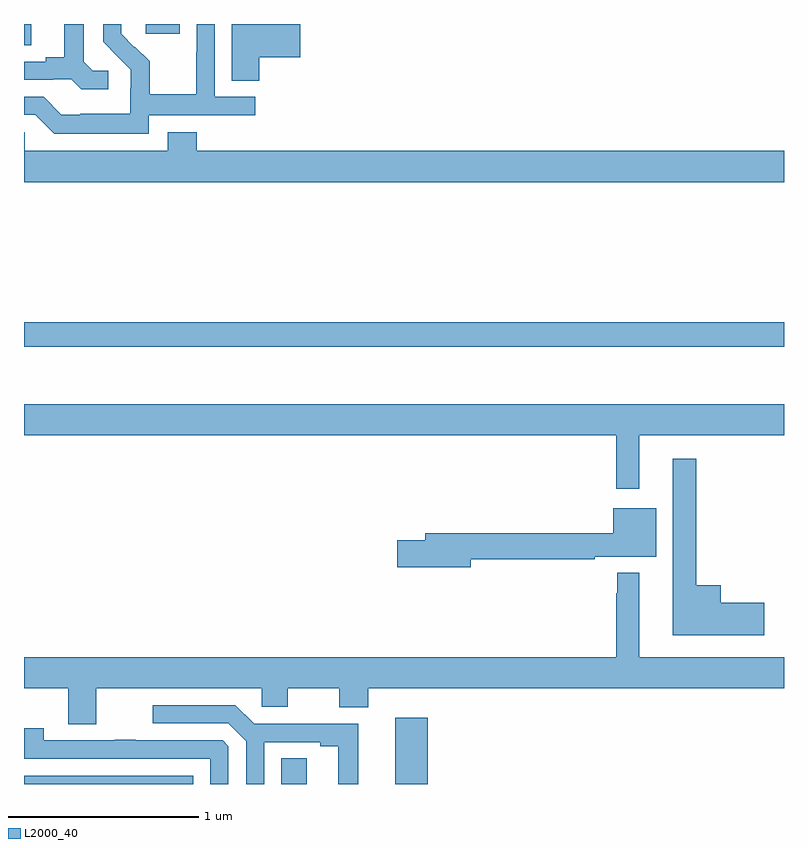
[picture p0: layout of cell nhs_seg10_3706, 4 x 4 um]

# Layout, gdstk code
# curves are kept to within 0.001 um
import gdstk
lib = gdstk.Library(unit=1e-6, precision=1e-09)
def R(c, l, rs):  # rectangles x0, y0, x1, y1
    for r in rs: c.add(gdstk.rectangle(r[:2], r[2:], *l))
def P(c, l, *ps):  # polygons
    for p in ps: c.add(gdstk.Polygon(p, *l))
L2000_40 = (2000, 40)

nhs_seg10_3706 = lib.new_cell('nhs_seg10_3706')
R(nhs_seg10_3706, L2000_40, [(313,1278.5,313.89,1278.543), (314.354,1278.5,314.488,1278.635), (314.954,1278.5,315.125,1278.85), (313,1280.802,317,1280.93), (313,1282.387,313.039,1282.5), (313.64,1282.449,313.819,1282.5)])
P(nhs_seg10_3706, L2000_40, [(313.444,1282.254),(313.362,1282.254),(313.315,1282.301),(313.315,1282.5),(313.211,1282.5),(313.211,1282.325),(313.115,1282.325),(313.115,1282.302),(313,1282.302),(313,1282.206),(313.154,1282.206),(313.154,1282.209),(313.248,1282.209),(313.3,1282.157),(313.444,1282.157)],
  [(314.237,1282.325),(314.455,1282.325),(314.455,1282.5),(314.093,1282.5),(314.093,1282.201),(314.237,1282.201)],
  [(313.656,1282.02),(314.218,1282.02),(314.218,1282.116),(314.004,1282.116),(314.004,1282.5),(313.908,1282.5),(313.908,1282.352),(313.906,1282.352),(313.906,1282.129),(313.661,1282.129),(313.661,1282.303),(313.584,1282.38),(313.581,1282.377),(313.511,1282.448),(313.511,1282.5),(313.416,1282.5),(313.416,1282.406),(313.562,1282.258),(313.562,1282.161),(313.56,1282.161),(313.56,1282.027),(313.297,1282.027),(313.297,1282.023),(313.197,1282.023),(313.104,1282.116),(313,1282.116),(313,1282.023),(313.059,1282.023),(313.159,1281.923),(313.656,1281.923)],
  [(317,1281.832),(313.91,1281.832),(313.91,1281.931),(313.757,1281.931),(313.757,1281.832),(313.005,1281.832),(313.005,1281.93),(313,1281.93),(313,1281.668),(317,1281.668)],
  [(316.237,1280.336),(317,1280.336),(317,1280.5),(313,1280.5),(313,1280.336),(316.116,1280.336),(316.116,1280.055),(316.237,1280.055)],
  [(316.897,1279.454),(316.666,1279.454),(316.666,1279.546),(316.537,1279.546),(316.537,1280.212),(316.415,1280.212),(316.415,1279.283),(316.897,1279.283)],
  [(315.352,1279.684),(316.004,1279.684),(316.004,1279.697),(316.327,1279.697),(316.327,1279.951),(316.1,1279.951),(316.1,1279.82),(315.113,1279.82),(315.113,1279.784),(314.964,1279.784),(314.964,1279.642),(315.352,1279.642)],
  [(313.381,1279.004),(314.25,1279.004),(314.25,1278.906),(314.389,1278.906),(314.389,1279.004),(314.66,1279.004),(314.66,1278.905),(314.813,1278.905),(314.813,1279.004),(317,1279.004),(317,1279.168),(316.237,1279.168),(316.237,1279.612),(316.122,1279.612),(316.122,1279.505),(316.116,1279.505),(316.116,1279.168),(313,1279.168),(313,1279.004),(313.234,1279.004),(313.234,1278.814),(313.381,1278.814)],
  [(314.265,1278.72),(314.558,1278.72),(314.558,1278.7),(314.654,1278.7),(314.654,1278.5),(314.758,1278.5),(314.758,1278.816),(314.212,1278.816),(314.113,1278.915),(313.677,1278.915),(313.677,1278.819),(314.076,1278.819),(314.169,1278.726),(314.169,1278.5),(314.265,1278.5)],
  [(314.076,1278.699),(314.046,1278.729),(313.589,1278.729),(313.589,1278.734),(313.477,1278.734),(313.477,1278.729),(313.104,1278.729),(313.104,1278.793),(313,1278.793),(313,1278.633),(313.98,1278.633),(313.98,1278.5),(314.076,1278.5)])

lib.write_gds('nhs_seg10_3706.gds')
